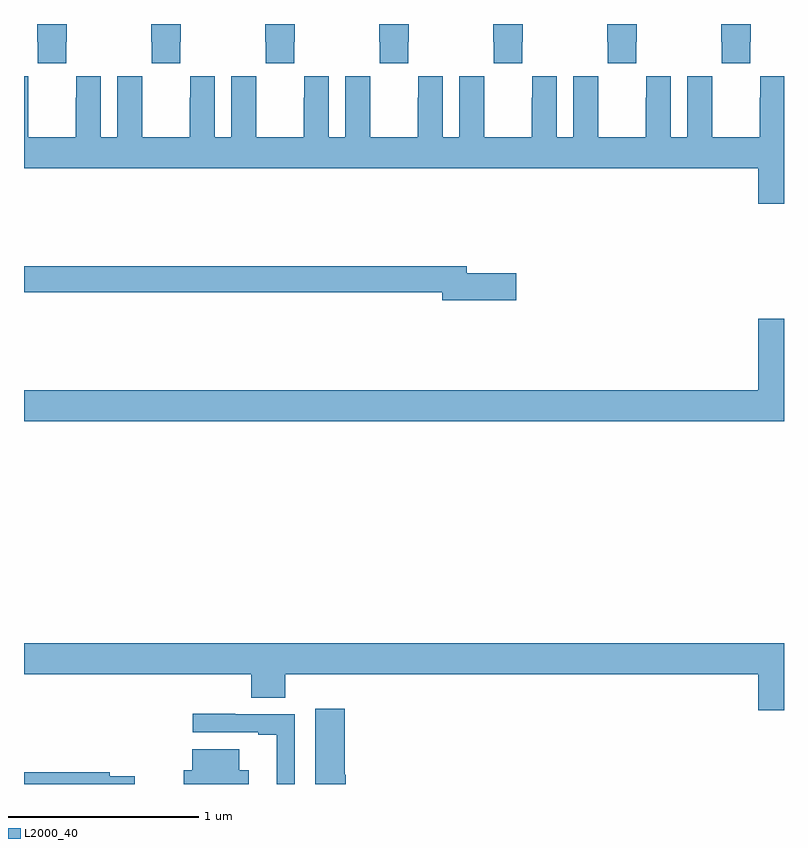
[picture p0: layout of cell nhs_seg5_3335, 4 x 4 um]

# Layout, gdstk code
import gdstk
lib = gdstk.Library(unit=1e-6, precision=1e-09)
def P(c, l, *ps):  # polygons
    for p in ps: c.add(gdstk.Polygon(p, *l))
L2000_40 = (2000, 40)

nhs_seg5_3335 = lib.new_cell('nhs_seg5_3335')
P(nhs_seg5_3335, L2000_40, [(308.823,910.705),(308.826,910.705),(308.826,910.799),(308.671,910.799),(308.671,910.705),(308.673,910.705),(308.673,910.593),(308.823,910.593)],
  [(308.071,910.705),(308.073,910.705),(308.073,910.593),(308.223,910.593),(308.223,910.705),(308.226,910.705),(308.226,910.799),(308.071,910.799)],
  [(307.623,910.705),(307.626,910.705),(307.626,910.799),(307.471,910.799),(307.471,910.705),(307.473,910.705),(307.473,910.593),(307.623,910.593)],
  [(307.023,910.705),(307.026,910.705),(307.026,910.799),(306.871,910.799),(306.871,910.705),(306.873,910.705),(306.873,910.593),(307.023,910.593)],
  [(306.423,910.705),(306.426,910.705),(306.426,910.799),(306.271,910.799),(306.271,910.705),(306.273,910.705),(306.273,910.593),(306.423,910.593)],
  [(305.823,910.705),(305.826,910.705),(305.826,910.799),(305.671,910.799),(305.671,910.705),(305.673,910.705),(305.673,910.593),(305.823,910.593)],
  [(305.223,910.705),(305.226,910.705),(305.226,910.799),(305.071,910.799),(305.071,910.705),(305.073,910.705),(305.073,910.593),(305.223,910.593)],
  [(308.864,909.852),(309,909.852),(309,910.525),(308.874,910.525),(308.874,910.412),(308.873,910.412),(308.873,910.204),(308.623,910.204),(308.623,910.412),(308.622,910.412),(308.622,910.525),(308.492,910.525),(308.492,910.204),(308.404,910.204),(308.404,910.525),(308.274,910.525),(308.274,910.412),(308.273,910.412),(308.273,910.204),(308.023,910.204),(308.023,910.412),(308.022,910.412),(308.022,910.525),(307.892,910.525),(307.892,910.204),(307.804,910.204),(307.804,910.525),(307.674,910.525),(307.674,910.412),(307.673,910.412),(307.673,910.204),(307.423,910.204),(307.423,910.412),(307.422,910.412),(307.422,910.525),(307.292,910.525),(307.292,910.204),(307.204,910.204),(307.204,910.525),(307.074,910.525),(307.074,910.412),(307.073,910.412),(307.073,910.204),(306.823,910.204),(306.823,910.412),(306.822,910.412),(306.822,910.525),(306.692,910.525),(306.692,910.204),(306.604,910.204),(306.604,910.525),(306.474,910.525),(306.474,910.412),(306.473,910.412),(306.473,910.204),(306.223,910.204),(306.223,910.412),(306.222,910.412),(306.222,910.525),(306.092,910.525),(306.092,910.204),(306.004,910.204),(306.004,910.525),(305.874,910.525),(305.874,910.412),(305.873,910.412),(305.873,910.204),(305.623,910.204),(305.623,910.412),(305.622,910.412),(305.622,910.525),(305.492,910.525),(305.492,910.204),(305.404,910.204),(305.404,910.525),(305.274,910.525),(305.274,910.412),(305.273,910.412),(305.273,910.204),(305.023,910.204),(305.023,910.412),(305.022,910.412),(305.022,910.525),(305,910.525),(305,910.04),(308.864,910.04)],
  [(307.591,909.488),(307.33,909.488),(307.33,909.524),(305,909.524),(305,909.388),(307.202,909.388),(307.202,909.346),(307.591,909.346)],
  [(309,909.247),(308.864,909.247),(308.864,908.872),(305,908.872),(305,908.708),(309,908.708)],
  [(309,907.54),(305,907.54),(305,907.376),(306.197,907.376),(306.197,907.252),(306.374,907.252),(306.374,907.376),(308.864,907.376),(308.864,907.188),(309,907.188)],
  [(306.694,906.849),(306.689,906.849),(306.689,907.195),(306.533,907.195),(306.533,906.799),(306.694,906.799)],
  [(306.426,907.167),(306.113,907.167),(306.113,907.169),(305.889,907.169),(305.889,907.071),(306.233,907.071),(306.233,907.059),(306.329,907.059),(306.329,906.799),(306.426,906.799)],
  [(306.184,906.871),(306.133,906.871),(306.133,906.982),(305.885,906.982),(305.885,906.871),(305.84,906.871),(305.84,906.799),(306.184,906.799)],
  [(305.584,906.84),(305.45,906.84),(305.45,906.86),(305,906.86),(305,906.799),(305.584,906.799)])

lib.write_gds('nhs_seg5_3335.gds')
